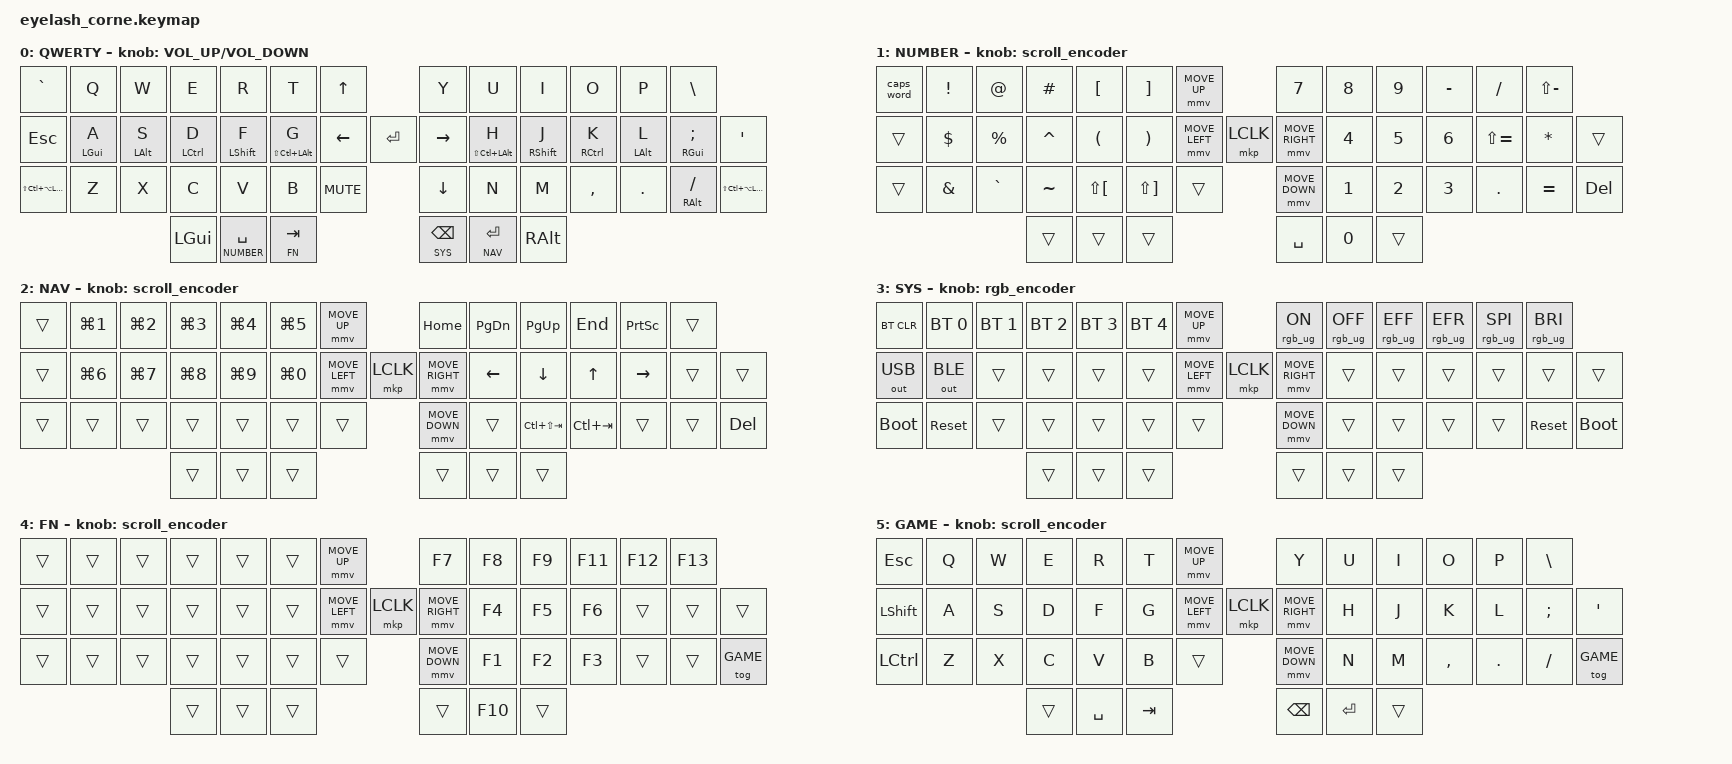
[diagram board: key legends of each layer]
#include <behaviors.dtsi>
#include <dt-bindings/zmk/bt.h>
#include <dt-bindings/zmk/keys.h>
#include <dt-bindings/zmk/mouse.h>
#include <dt-bindings/zmk/outputs.h>
#include <dt-bindings/zmk/rgb.h>

#include <input/processors.dtsi>

/* #define ZMK_MOUSE_DEFAULT_MOVE_VAL 1200  // 600 */
/* #define ZMK_MOUSE_DEFAULT_SCRL_VAL 20    // 10 */
#define ZMK_MOUSE_DEFAULT_MOVE_VAL 600
#define ZMK_MOUSE_DEFAULT_SCRL_VAL 10

#define DEFAULT 0
#define NUMBER  1
#define NAV     2
#define SYS     3
#define FN      4
#define GAME    5

#define KEYS_L 0 1 2 3 4 5 13 14 15 16 17 18 28 29 30 31 32 33
#define KEYS_R 7 8 9 10 11 12 22 23 24 25 26 27 36 37 38 39 40 41
#define THUMBS 42 43 44 45 46 47
#define CENTER 6 19 20 21 34 35

&mt {
  quick-tap-ms = <200>;
  tapping-term-ms = <200>;
};

&lt {
  quick-tap-ms = <300>;
};

/ {
    behaviors {
      hml: home_row_mod_left {
          compatible = "zmk,behavior-hold-tap";
          #binding-cells = <2>;
          flavor = "balanced";
          tapping-term-ms = <280>;
          quick-tap-ms = <175>;
          require-prior-idle-ms = <150>;
          bindings = <&kp>, <&kp>;
          hold-trigger-key-positions = <KEYS_R THUMBS CENTER>;
          hold-trigger-on-release;
      };

      hmr: home_row_mod_right {
          compatible = "zmk,behavior-hold-tap";
          #binding-cells = <2>;
          flavor = "balanced";
          tapping-term-ms = <280>;
          quick-tap-ms = <175>;
          require-prior-idle-ms = <150>;
          bindings = <&kp>, <&kp>;
          hold-trigger-key-positions = <KEYS_L THUMBS CENTER>;
          hold-trigger-on-release;
      };

      rgb_encoder: rgb_encoder {
          compatible = "zmk,behavior-sensor-rotate";
          #sensor-binding-cells = <0>;
          bindings = <&rgb_ug RGB_BRI>, <&rgb_ug RGB_BRD>;
      };

      scroll_encoder: scroll_encoder {
          compatible = "zmk,behavior-sensor-rotate";
          #sensor-binding-cells = <0>;
          bindings = <&msc SCRL_DOWN>, <&msc SCRL_UP>;
          tap-ms = <20>;
      };
    };

    keymap {
        compatible = "zmk,keymap";

        default_layer {
            display-name = "QWERTY";
            bindings = <
&kp GRAVE  &kp Q        &kp W       &kp E           &kp R             &kp T                                 &kp UP                &kp Y         &kp U           &kp I         &kp O       &kp P           &kp BSLH
&kp ESC    &hml LGUI A  &hml LALT S &hml LCTRL D    &hml LSHIFT F     &hml LS(LC(LALT)) G                   &kp LEFT   &kp ENTER  &kp RIGHT  &hmr LS(LC(LALT)) H        &hmr RSHIFT J   &hmr RCTRL K  &hmr LALT L &hmr RGUI SEMI  &kp SQT
&kp LS(LC(LA(LGUI))) &kp Z        &kp X       &kp C           &kp V             &kp B       &kp C_MUTE                &kp DOWN              &kp N         &kp M           &kp COMMA     &kp DOT     &hmr RALT FSLH       &kp LS(LC(LA(LGUI)))
                                    &kp LGUI        &lt NUMBER SPACE  &lt FN TAB                                                  &lt SYS BSPC  &lt NAV ENTER   &kp RALT
            >;
            sensor-bindings = <&inc_dec_kp C_VOLUME_UP C_VOLUME_DOWN>;
        };


        layer_1 {
            display-name = "NUMBER";
            bindings = <
&caps_word  &kp EXCL  &kp AT      &kp HASH    &kp LBKT      &kp RBKT                                  &mmv MOVE_UP                      &kp N7      &kp N8  &kp N9  &kp MINUS       &kp FSLH    &kp LS(MINUS)
&trans      &kp DLLR  &kp PRCNT   &kp CARET   &kp LPAR      &kp RPAR                  &mmv MOVE_LEFT  &mkp LCLK       &mmv MOVE_RIGHT   &kp N4      &kp N5  &kp N6  &kp LS(EQUAL)   &kp STAR    &trans
&trans      &kp AMPS  &kp GRAVE   &kp TILDE   &kp LS(LBKT)  &kp LS(RBKT)  &trans                      &mmv MOVE_DOWN                    &kp N1      &kp N2  &kp N3  &kp DOT         &kp EQUAL   &kp DEL
                                  &trans      &trans        &trans                                                                      &kp SPACE   &kp N0  &trans
            >;
            sensor-bindings = <&scroll_encoder>;
        };

        layer_2 {
            display-name = "NAV";
            bindings = <
&trans  &kp LG(N1)  &kp LG(N2)  &kp LG(N3)  &kp LG(N4)  &kp LG(N5)                          &mmv MOVE_UP                     &kp HOME   &kp PG_DN         &kp PG_UP     &kp END     &kp PSCRN   &trans
&trans  &kp LG(N6)  &kp LG(N7)  &kp LG(N8)  &kp LG(N9)  &kp LG(N0)          &mmv MOVE_LEFT  &mkp LCLK       &mmv MOVE_RIGHT  &kp LEFT   &kp DOWN          &kp UP        &kp RIGHT   &trans      &trans
&trans  &trans      &trans      &trans      &trans      &trans      &trans                  &mmv MOVE_DOWN                   &trans     &kp LC(LS(TAB))   &kp LC(TAB)   &trans      &trans      &kp DEL
                                &trans      &trans      &trans                                                               &trans     &trans            &trans
            >;
            sensor-bindings = <&scroll_encoder>;
        };

        layer_3 {
            display-name = "SYS";
            bindings = <
&bt BT_CLR  &bt BT_SEL 0  &bt BT_SEL 1  &bt BT_SEL 2  &bt BT_SEL 3  &bt BT_SEL 4                          &mmv MOVE_UP                     &rgb_ug RGB_ON   &rgb_ug RGB_OFF   &rgb_ug RGB_EFF   &rgb_ug RGB_EFR   &rgb_ug RGB_SPI   &rgb_ug RGB_BRI
&out OUT_USB    &out OUT_BLE  &trans        &trans        &trans        &trans                &mmv MOVE_LEFT  &mkp LCLK       &mmv MOVE_RIGHT  &trans           &trans            &trans            &trans            &trans            &trans
&bootloader     &sys_reset    &trans        &trans        &trans        &trans        &trans                  &mmv MOVE_DOWN                   &trans           &trans            &trans            &trans            &sys_reset        &bootloader
                              &trans        &trans        &trans                                                                               &trans           &trans            &trans
            >;
            sensor-bindings = <&rgb_encoder>;
        };

        layer_4 {
            display-name = "FN";
            bindings = <
&trans  &trans  &trans  &trans  &trans  &trans                              &mmv MOVE_UP                     &kp F7   &kp F8    &kp F9  &kp F11   &kp F12   &kp F13
&trans  &trans  &trans  &trans  &trans  &trans              &mmv MOVE_LEFT  &mkp LCLK       &mmv MOVE_RIGHT  &kp F4   &kp F5    &kp F6  &trans    &trans    &trans
&trans  &trans  &trans  &trans  &trans  &trans  &trans                      &mmv MOVE_DOWN                   &kp F1   &kp F2    &kp F3  &trans    &trans    &tog GAME
                        &trans  &trans  &trans                                                               &trans   &kp F10   &trans
            >;
            sensor-bindings = <&scroll_encoder>;
        };

        layer_5 {
            display-name = "GAME";
            bindings = <
&kp ESC     &kp Q   &kp W   &kp E       &kp R     &kp T                           &mmv MOVE_UP                      &kp Y     &kp U       &kp I       &kp O     &kp P     &kp BSLH
&kp LSHIFT  &kp A   &kp S   &kp D       &kp F     &kp G           &mmv MOVE_LEFT  &mkp LCLK       &mmv MOVE_RIGHT   &kp H     &kp J       &kp K       &kp L     &kp SEMI  &kp SQT
&kp LCTRL   &kp Z   &kp X   &kp C       &kp V     &kp B   &trans                  &mmv MOVE_DOWN                    &kp N     &kp M       &kp COMMA   &kp DOT   &kp FSLH  &tog GAME
                    &trans  &kp SPACE   &kp TAB                                                                     &kp BSPC  &kp ENTER   &trans
            >;
            sensor-bindings = <&scroll_encoder>;
        };
    };
};
